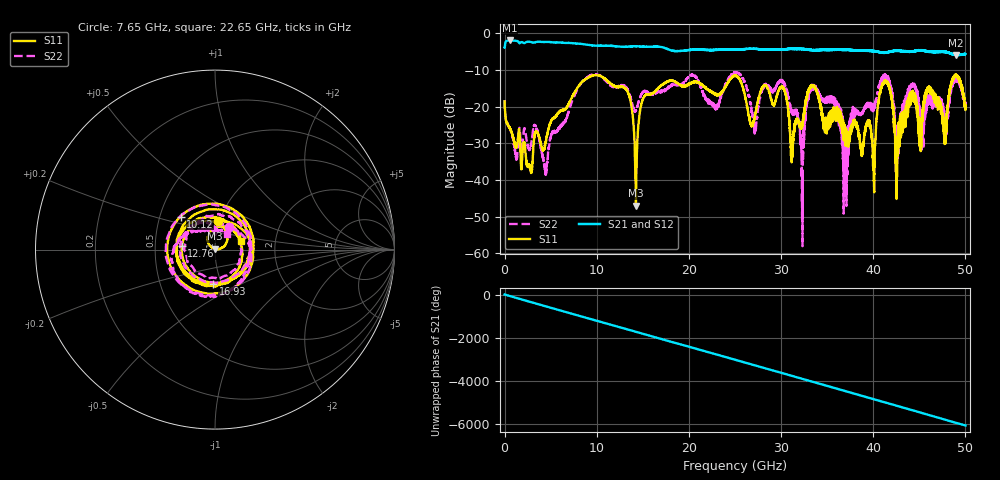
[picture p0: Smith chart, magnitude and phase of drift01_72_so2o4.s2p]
!Created with skrf (http://scikit-rf.org).
# Hz S RI R 50.0
!freq ReS11 ImS11 ReS21 ImS21 ReS12 ImS12 ReS22 ImS22
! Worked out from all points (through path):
!   10001 points, 300 kHz to 50 GHz, reference 50 ohm
!   highest |S21| = -2.00 dB at 570.3 MHz (marker M1); lowest = -6.0 dB at 48.98 GHz (marker M2)
!   group delay of S21, straight-line fit = 336 ps
!   lowest |S11| = -47.0 dB at 14.25 GHz (marker M3), VSWR 1.01, Z = 50.1 + j0.442 ohm
!   |S11| at or under -10 dB: start of sweep to end of sweep
!   |S22| runs from -58.0 to -10.6 dB; largest |S21 - S12| = 0.02
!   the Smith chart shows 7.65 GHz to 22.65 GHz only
!   S11 on the Smith chart (normalised r, x): 7.65 GHz: 0.99, +0.32; 10.12 GHz: 0.64, +0.25; 12.76 GHz: 0.69, +0.03; 16.93 GHz: 0.91, -0.36; 22.65 GHz: 1.33, +0.13
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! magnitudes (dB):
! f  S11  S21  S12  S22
! 300 kHz  -18.6  -4.0  -4.1  -18.2
! 570.3 MHz  -26.0  -2.0  -2.0  -26.0
! 4.435 GHz  -29.9  -2.4  -2.4  -37.7
! 7.65 GHz  -16.0  -2.8  -2.8  -16.5
! 8.335 GHz  -13.5  -3.0  -3.0  -13.5
! 10.12 GHz  -11.5  -3.4  -3.4  -11.4
! 12.76 GHz  -14.6  -3.7  -3.7  -14.3
! 14.25 GHz  -47.0  -3.6  -3.6  -21.1
! 16.67 GHz  -15.0  -3.7  -3.7  -15.9
! 16.93 GHz  -14.4  -3.8  -3.8  -15.9
! 22.65 GHz  -16.3  -4.6  -4.6  -19.4
! 25 GHz  -11.5  -4.5  -4.5  -10.9
! 27.18 GHz  -22.3  -4.3  -4.3  -25.9
! 30.22 GHz  -14.9  -4.4  -4.4  -13.1
! 32.28 GHz  -25.0  -4.3  -4.3  -50.7
! 33.34 GHz  -14.2  -4.6  -4.6  -14.6
! 36.99 GHz  -30.6  -4.5  -4.4  -37.8
! 40.05 GHz  -38.5  -4.9  -4.9  -19.7
! 41.67 GHz  -13.8  -5.1  -5.1  -13.2
! 42.6 GHz  -29.7  -4.8  -4.8  -32.3
! 48.98 GHz  -11.5  -6.0  -6.0  -12.5
! 50 GHz  -19.6  -5.7  -5.7  -19.1
